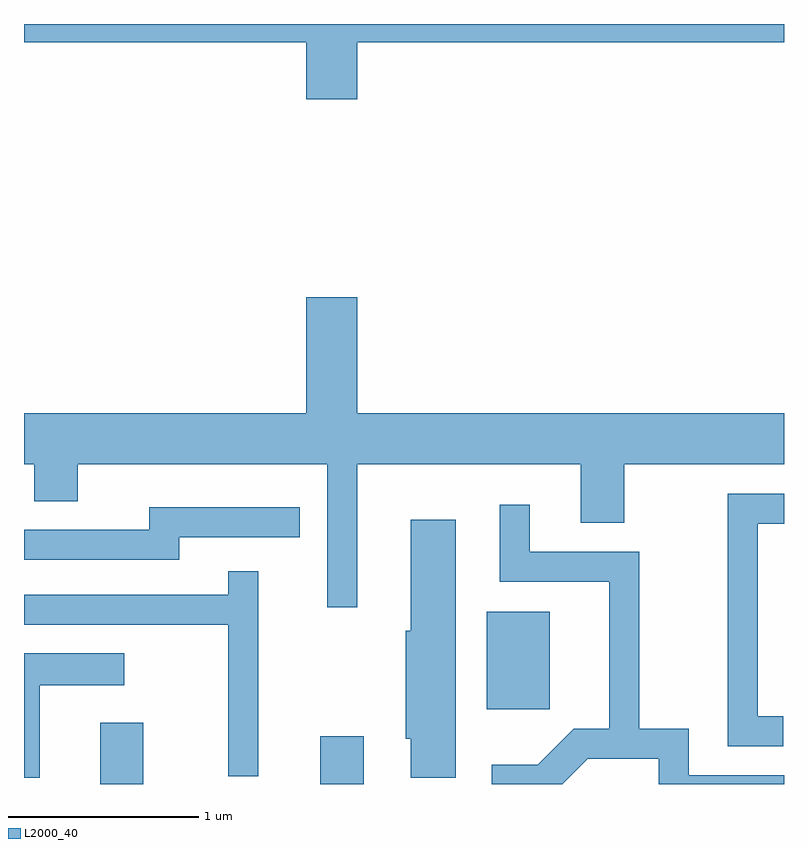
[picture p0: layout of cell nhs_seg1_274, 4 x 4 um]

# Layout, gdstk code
import gdstk
lib = gdstk.Library(unit=1e-6, precision=1e-09)
def R(c, l, rs):  # rectangles x0, y0, x1, y1
    for r in rs: c.add(gdstk.rectangle(r[:2], r[2:], *l))
def P(c, l, *ps):  # polygons
    for p in ps: c.add(gdstk.Polygon(p, *l))
L2000_40 = (2000, 40)

nhs_seg1_274 = lib.new_cell('nhs_seg1_274')
R(nhs_seg1_274, L2000_40, [(194.011,855.712,194.239,856.034), (195.171,855.712,195.399,855.964), (196.046,856.106,196.379,856.619)])
P(nhs_seg1_274, L2000_40, [(195.364,859.616),(197.611,859.616),(197.611,859.712),(193.611,859.712),(193.611,859.616),(195.096,859.616),(195.096,859.316),(195.364,859.316)],
  [(195.364,857.396),(196.541,857.396),(196.541,857.086),(196.769,857.086),(196.769,857.396),(197.611,857.396),(197.611,857.664),(195.364,857.664),(195.364,858.274),(195.096,858.274),(195.096,857.664),(193.611,857.664),(193.611,857.396),(193.666,857.396),(193.666,857.201),(193.894,857.201),(193.894,857.396),(195.206,857.396),(195.206,856.643),(195.364,856.643)],
  [(197.608,856.069),(197.474,856.069),(197.474,857.081),(197.611,857.081),(197.611,857.239),(197.316,857.239),(197.316,855.911),(197.608,855.911)],
  [(196.577,855.846),(196.951,855.846),(196.951,855.712),(197.611,855.712),(197.611,855.759),(197.109,855.759),(197.109,856.004),(196.849,856.004),(196.849,856.934),(196.274,856.934),(196.274,857.183),(196.116,857.183),(196.116,856.776),(196.691,856.776),(196.691,856.004),(196.504,856.004),(196.314,855.814),(196.073,855.814),(196.073,855.712),(196.443,855.712)],
  [(194.429,857.011),(195.063,857.011),(195.063,857.169),(194.271,857.169),(194.271,857.049),(193.611,857.049),(193.611,856.891),(194.429,856.891)],
  [(195.884,857.104),(195.646,857.104),(195.646,856.519),(195.621,856.519),(195.621,855.951),(195.646,855.951),(195.646,855.746),(195.884,855.746)],
  [(194.844,856.833),(194.686,856.833),(194.686,856.709),(193.611,856.709),(193.611,856.551),(194.686,856.551),(194.686,855.753),(194.844,855.753)],
  [(193.694,856.231),(194.138,856.231),(194.138,856.399),(193.611,856.399),(193.611,855.746),(193.694,855.746)])

lib.write_gds('nhs_seg1_274.gds')
